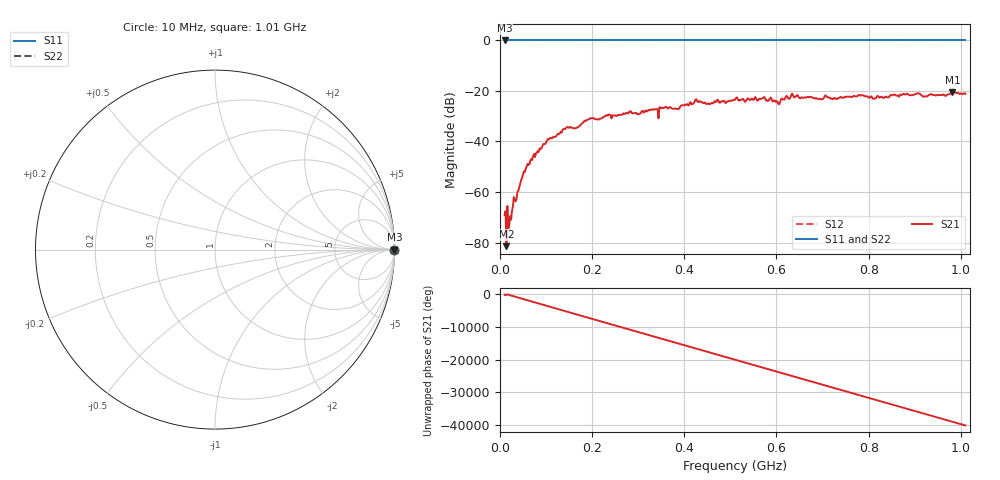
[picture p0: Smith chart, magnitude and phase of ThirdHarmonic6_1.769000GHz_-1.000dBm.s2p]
! 8/16/2025 9:22:14 PM
! C:\ANRITSUVNA\TEMP\TEMP.S2P
! CHANNEL.1
! TR.MEASUREMENT
! RAW.DATA
! RF.CORRECTION.OFF
! AVERAGING.OFF
! IF.BANDWIDTH: 5KHZ
! SWEEPTYPE:  FREQ.SWEEP(Linear)
! Reference Plane Port Info
! PORT:  PORT1  PORT2
! DISTANCE:  0  m  0  m
! TIME:  0  s  0  s
! PHASE.OFFSET:  0  deg.  0  deg.
! LOSS:  0  dB  0  dB
! REF.LOSS:  0  dB  0  dB
! REF.FREQ:  0  Hz  0  Hz
! Power Info
! POWER:  -20  dBm  -20  dBm
! EFF.POWER:  -20  dBm  -20  dBm
! SOURCE.ATTEN:  0  dB  0  dB
! TEST.ATTEN:  0  dB  0  dB
# GHZ S RI R 50.0
! FREQ.GHZ  S11RE  S11IM  S21RE  S21IM  S12RE  S12IM  S22RE  S22IM
!; PortSelection: Port_12
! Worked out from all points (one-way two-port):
!   501 points, 10 MHz to 1.01 GHz, reference 50 ohm
!   highest |S21| = -20.39 dB at 982 MHz (marker M1); lowest = -81.5 dB at 14 MHz (marker M2)
!   lowest |S11| = 0.0 dB at 10 MHz (marker M3)
!   |S11| at or under -10 dB: nowhere
!   |S22| runs from 0.0 to 0.0 dB; largest |S21 - S12| = 1.1
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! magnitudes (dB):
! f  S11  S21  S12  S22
! 10 MHz  0.0  -69.0  0.0  0.0
! 14 MHz  0.0  -81.5  0.0  0.0
! 18 MHz  0.0  -74.5  0.0  0.0
! 22 MHz  0.0  -69.5  0.0  0.0
! 30 MHz  0.0  -62.0  0.0  0.0
! 48 MHz  0.0  -54.4  0.0  0.0
! 70 MHz  0.0  -47.3  0.0  0.0
! 106 MHz  0.0  -39.1  0.0  0.0
! 178 MHz  0.0  -32.9  0.0  0.0
! 234 MHz  0.0  -29.7  0.0  0.0
! 344 MHz  0.0  -30.8  0.0  0.0
! 384 MHz  0.0  -27.1  0.0  0.0
! 428 MHz  0.0  -24.2  0.0  0.0
! 452 MHz  0.0  -24.9  0.0  0.0
! 510 MHz  0.0  -23.5  0.0  0.0
! 572 MHz  0.0  -22.6  0.0  0.0
! 604 MHz  0.0  -25.1  0.0  0.0
! 636 MHz  0.0  -21.8  0.0  0.0
! 678 MHz  0.0  -22.7  0.0  0.0
! 844 MHz  0.0  -22.5  0.0  0.0
! 982 MHz  0.0  -20.4  0.0  0.0
! 1.01 GHz  0.0  -21.0  0.0  0.0
